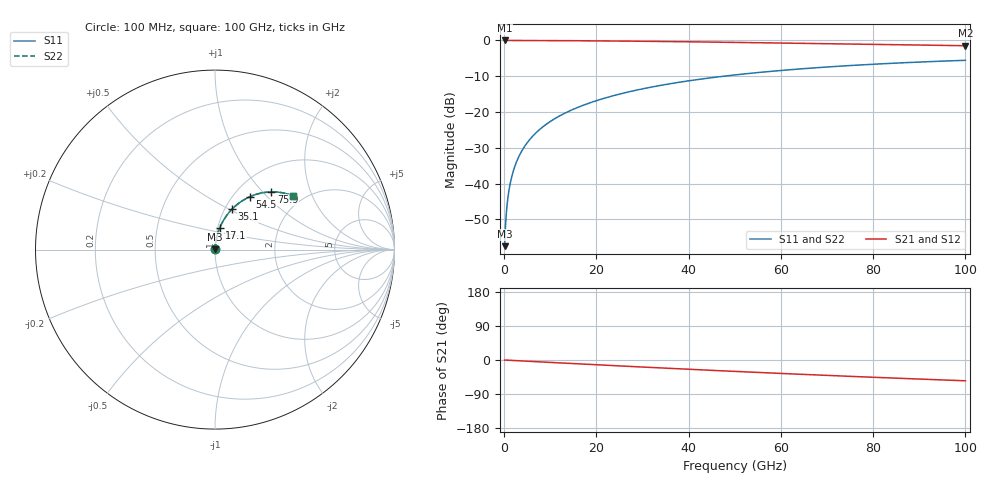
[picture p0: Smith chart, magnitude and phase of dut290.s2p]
! Touchstone file exported from HFSS 2026.1.0
!  File:  C:/ffzhzh/LocalFiles/Ansys_Project_Files/temp_train_RDL_290_1783502191_55944.aedt
!  Generated:  05:17:48 PM Jul  8, 2026
!  Design:  RDL
!  Project:  temp_train_RDL_290_1783502191_55944
! Variables:
!  h_bsmrdl = 2um
!  h_ox = 20um
!  h_rdl = 5um
!  h_sub = 80um
!  h_tmrdl = 2.76um
!  h_tsv = 80um
!  h_via = 3um
!  l_bsmrdl = 300um
!  l_sub = 527.63um
!  l_tmrdl = 127.63um
!  m_sub = 200um
!  pitch = 51.15um
!  r_tsv = 6um
!  s_tmrdl = 10um
!  w_bsmrdl = 18um
!  w_sub = 500um
!  w_tmrdl = 20.88um
!  x_tsv_center1 = 138.07um
!  x_tsv_center2 = 456.07um
!  x_tsv_center3 = 604.58um
!  x_tsv_center4 = 922.58um
!  x_tsv_center5 = 1071.09um
!  x_tsv_center6 = 1389.09um
# GHz S MA R 50.000000
! Terminal data exported
! Port[1] = TM_RDL1_1_T1
! Port[2] = TM_RDL1_1_T2
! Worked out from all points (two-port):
!   1000 points, 100 MHz to 100 GHz, reference 50 ohm
!   highest |S21| = -0.01 dB at 100 MHz (marker M1); lowest = -1.5 dB at 100 GHz (marker M2)
!   |S21| within 3 dB of the highest: start of sweep to end of sweep
!   lowest |S11| = -57.5 dB at 100 MHz (marker M3), VSWR 1.00, Z = 50.1 + j0.0801 ohm
!   |S11| at or under -10 dB: start of sweep to 47.59 GHz
!   |S22| runs from -57.5 to -5.6 dB; largest |S21 - S12| = 4.3e-15
!   S11 on the Smith chart (normalised r, x): 100 MHz: 1.00, +0.00; 17.1 GHz: 1.02, +0.25; 35.1 GHz: 1.08, +0.51; 54.5 GHz: 1.19, +0.80; 75.9 GHz: 1.39, +1.12; 100 GHz: 1.76, +1.46
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0.1  0.001335 36.8  0.9989 -0.1  0.9989 -0.1  0.001335 36.8
! Gamma 0 0 0 0
! Port Impedance 50 0 50 0
0.3  0.002623 64.2  0.9989 -0.2  0.9989 -0.2  0.002623 64.2
0.9  0.006965 78.8  0.9987 -0.6  0.9987 -0.6  0.006965 78.8
1.2  0.00916 80.9  0.9986 -0.8  0.9986 -0.8  0.00916 80.9
1.5  0.01137 82.2  0.9986 -1.0  0.9986 -1.0  0.01137 82.2
2  0.01506 83.4  0.9985 -1.3  0.9985 -1.3  0.01506 83.4
2.5  0.01875 84.0  0.9984 -1.6  0.9984 -1.6  0.01875 84.0
4  0.02985 84.4  0.998 -2.6  0.998 -2.6  0.02985 84.4
6.1  0.0453 83.8  0.9972 -3.9  0.9972 -3.9  0.0453 83.8
8.9  0.06572 82.4  0.9957 -5.7  0.9957 -5.7  0.06572 82.4
12.4  0.09087 80.5  0.9932 -7.9  0.9932 -7.9  0.09087 80.5
16.8  0.1219 77.9  0.9893 -10.6  0.9893 -10.6  0.1219 77.9
17.1  0.124 77.7  0.989 -10.8  0.989 -10.8  0.124 77.7
24.4  0.1738 73.5  0.9808 -15.2  0.9808 -15.2  0.1738 73.5
33.4  0.2323 68.3  0.9681 -20.6  0.9681 -20.6  0.2323 68.3
35.1  0.2429 67.3  0.9654 -21.6  0.9654 -21.6  0.2429 67.3
50.1  0.3299 59.0  0.9387 -30.1  0.9387 -30.1  0.3299 58.9
54.5  0.353 56.6  0.9301 -32.5  0.9301 -32.5  0.353 56.6
66.7  0.4112 50.3  0.9058 -39.0  0.9058 -39.0  0.4112 50.2
75.9  0.4494 45.7  0.8874 -43.6  0.8874 -43.6  0.4494 45.6
83.4  0.4769 42.1  0.8729 -47.2  0.8729 -47.2  0.477 42.1
100  0.5273 34.6  0.8435 -54.8  0.8435 -54.8  0.5273 34.5
